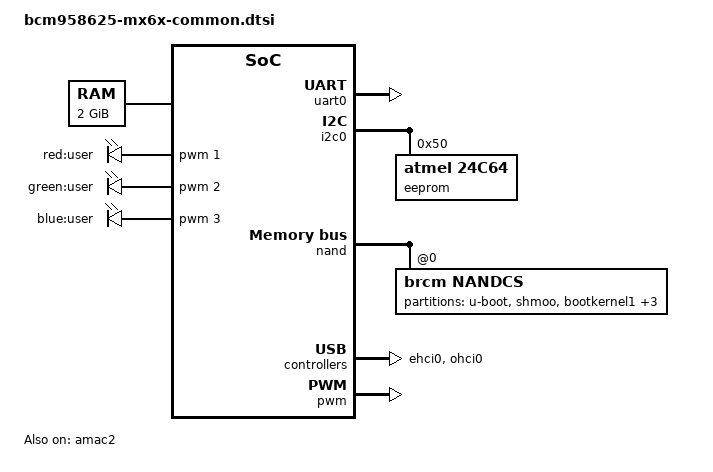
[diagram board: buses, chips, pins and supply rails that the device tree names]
// SPDX-License-Identifier: GPL-2.0-or-later OR MIT
/*
 * Common Bindings for Cisco Meraki MX64 (Kingpin) and MX65 (Alamo) devices.
 *
 * Copyright (C) 2021 Matthew Hagan <mnhagan88@gmail.com>
 */

#include "bcm-nsp.dtsi"
#include <dt-bindings/gpio/gpio.h>

/ {
	chosen {
		stdout-path = "serial0:115200n8";
	};

	memory {
		device_type = "memory";
		reg = <0x60000000 0x80000000>;
	};

	pwm-leds {
		compatible = "pwm-leds";

		red {
			label = "red:user";
			pwms = <&pwm 1 50000>;
		};

		green {
			label = "green:user";
			pwms = <&pwm 2 50000>;
		};

		blue {
			label = "blue:user";
			pwms = <&pwm 3 50000>;
		};
	};
};

&L2 {
	arm,io-coherent;
	prefetch-data = <1>;
	prefetch-instr = <1>;
};

&uart0 {
	clock-frequency = <62500000>;
	status = "okay";
};

&i2c0 {
	status = "okay";
	eeprom: at24@50 {
		compatible = "atmel,24c64";
		pagesize = <32>;
		reg = <0x50>;
	};
};

&amac2 {
	status = "okay";
};

&nand {
	nandcs@0 {
		compatible = "brcm,nandcs";
		reg = <0>;
		nand-on-flash-bbt;

		#address-cells = <1>;
		#size-cells = <1>;

		nand-ecc-strength = <24>;
		nand-ecc-step-size = <1024>;

		brcm,nand-oob-sector-size = <27>;

		partition@0 {
			label = "u-boot";
			reg = <0x0 0x80000>;
			read-only;
		};

		partition@80000 {
			label = "shmoo";
			reg = <0x80000 0x80000>;
			read-only;
		};

		partition@100000 {
			label = "bootkernel1";
			reg = <0x100000 0x300000>;
		};

		partition@400000 {
			label = "senao_nvram";
			reg = <0x400000 0x100000>;
		};

		partition@500000 {
			label = "bootkernel2";
			reg = <0x500000 0x300000>;
		};

		partition@800000 {
			label = "ubi";
			reg = <0x800000 0x3f700000>;
		};
	};
};

&qspi {
	status = "disabled";
};

&ehci0 {
	status = "okay";
};

&ohci0 {
	status = "okay";
};

&pwm {
	status = "okay";
	#pwm-cells = <2>;
	chan0 {
		channel = <1>;
		active_low = <1>;
		};
	chan1 {
		channel = <2>;
		active_low = <1>;
	};
	chan2 {
		channel = <3>;
		active_low = <1>;
	};
};

&ccbtimer1 {
	status = "disabled";
};

&pinctrl {
	pinctrl-names = "default";
	pinctrl-0 = <&nand_sel>, <&gpiobs>, <&pwmc>;

	nand_sel: nand_sel {
		function = "nand";
		groups = "nand_grp";
	};

	gpiobs: gpiobs {
		function = "gpio_b";
		groups = "gpio_b_0_grp", "gpio_b_1_grp", "gpio_b_2_grp",
			 "gpio_b_3_grp";
	};

	pwmc: pwmc {
		function = "pwm";
		groups = "pwm0_grp", "pwm1_grp", "pwm2_grp", "pwm3_grp";
	};
};

&sata_phy {
	status = "disabled";
};
